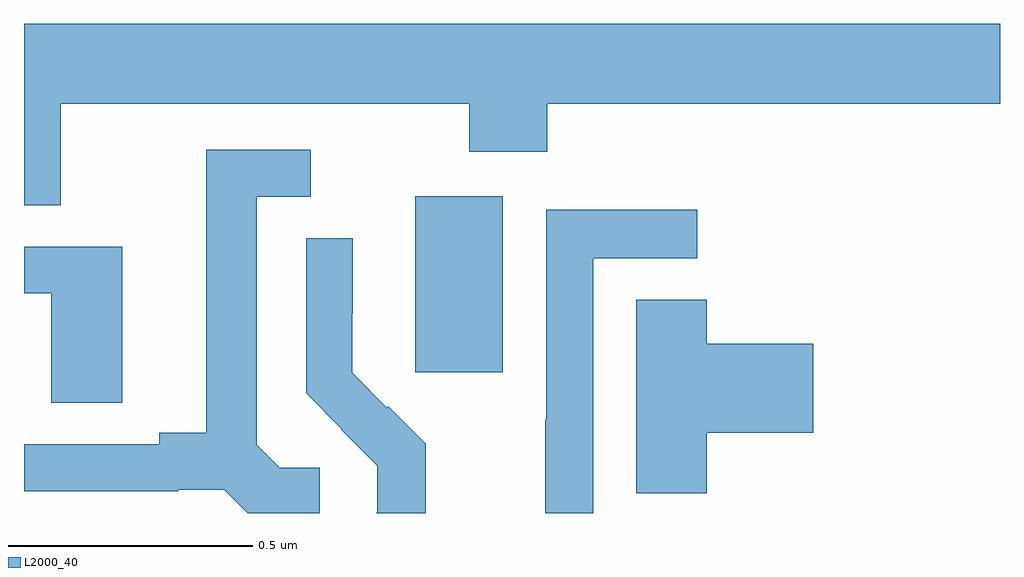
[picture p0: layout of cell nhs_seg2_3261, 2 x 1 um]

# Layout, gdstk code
import gdstk
lib = gdstk.Library(unit=1e-6, precision=1e-09)
def R(c, l, rs):  # rectangles x0, y0, x1, y1
    for r in rs: c.add(gdstk.rectangle(r[:2], r[2:], *l))
def P(c, l, *ps):  # polygons
    for p in ps: c.add(gdstk.Polygon(p, *l))
L2000_40 = (2000, 40)

nhs_seg2_3261 = lib.new_cell('nhs_seg2_3261')
R(nhs_seg2_3261, L2000_40, [(151.802,643.089,151.981,643.45)])
P(nhs_seg2_3261, L2000_40, [(151.075,643.64),(151.912,643.64),(151.912,643.541),(152.072,643.541),(152.072,643.64),(153,643.64),(153,643.804),(151,643.804),(151,643.432),(151.075,643.432)],
  [(151.606,642.894),(151.524,642.894),(151.477,642.941),(151.477,643.449),(151.588,643.449),(151.588,643.545),(151.373,643.545),(151.373,642.965),(151.277,642.965),(151.277,642.942),(151,642.942),(151,642.846),(151.316,642.846),(151.316,642.849),(151.41,642.849),(151.459,642.8),(151.606,642.8)],
  [(152.166,643.323),(152.38,643.323),(152.38,643.422),(152.07,643.422),(152.07,642.992),(152.068,642.992),(152.068,642.8),(152.166,642.8)],
  [(151.823,642.943),(151.746,643.02),(151.743,643.017),(151.673,643.088),(151.673,643.21),(151.674,643.21),(151.674,643.364),(151.578,643.364),(151.578,643.046),(151.651,642.973),(151.65,642.972),(151.724,642.898),(151.724,642.801),(151.722,642.801),(151.722,642.8),(151.823,642.8)],
  [(151.201,643.347),(151,643.347),(151,643.251),(151.056,643.251),(151.056,643.027),(151.201,643.027)],
  [(152.399,642.965),(152.617,642.965),(152.617,643.148),(152.399,643.148),(152.399,643.238),(152.255,643.238),(152.255,642.841),(152.399,642.841)])

lib.write_gds('nhs_seg2_3261.gds')
